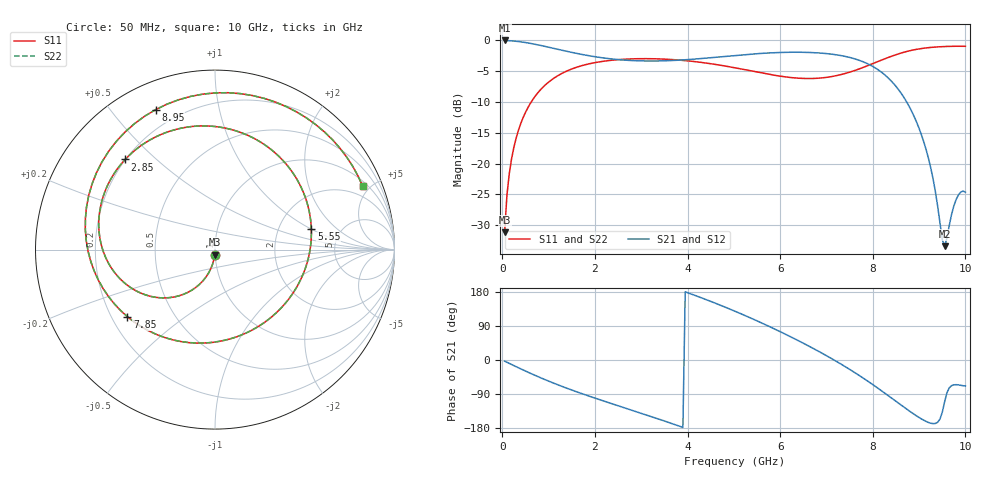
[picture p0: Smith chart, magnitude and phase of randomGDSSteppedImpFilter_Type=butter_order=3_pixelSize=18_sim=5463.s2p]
! freq	dB(S11)	phase(S11)	dB(S12)	phase(S12)
!  dB(S21)	phase(S21)	dB(S22)	phase(S22)
!S-par simulation data
#  GHz  S  DB  R 50
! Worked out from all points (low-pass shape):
!   200 points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, 50 MHz to 10 GHz, reference 50 ohm
!   highest |S21| = -0.01 dB at 50 MHz (marker M1); lowest = -33.4 dB at 9.55 GHz (marker M2)
!   |S21| within 3 dB of the highest: start of sweep to 2.357 GHz; 4.195 GHz to 7.616 GHz (3.421 GHz wide, 57.9 % of centre)
!   lowest |S11| = -31.2 dB at 50 MHz (marker M3), VSWR 1.06, Z = 49.8 - j2.75 ohm
!   |S11| at or under -10 dB: start of sweep to 625.4 MHz
!   |S22| runs from -31.2 to -0.9 dB; largest |S21 - S12| = 0
!   S11 on the Smith chart (normalised r, x): 50 MHz: 1.00, -0.06; 2.85 GHz: 0.20, +0.40; 5.55 GHz: 3.07, +1.00; 7.85 GHz: 0.26, -0.32; 8.95 GHz: 0.12, +0.65; 10 GHz: 1.28, +4.54
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0.05  -31.16 -93.2  -0.01 -3.0  -0.01 -3.0  -31.16 -93.2
0.1  -25.17 -96.3  -0.02 -6.0  -0.02 -6.0  -25.17 -96.3
0.2  -19.25 -102.4  -0.07 -11.9  -0.07 -11.9  -19.25 -102.4
0.5  -11.71 -119.7  -0.34 -29.2  -0.34 -29.2  -11.71 -119.7
1.05  -6.48 -148.8  -1.19 -58.2  -1.19 -58.2  -6.48 -148.8
1.75  -4.03 179.3  -2.32 -90.1  -2.32 -90.1  -4.03 179.3
2.85  -2.99 134.9  -3.29 -134.5  -3.29 -134.5  -2.99 134.9
3.4  -3.01 112.8  -3.33 -156.7  -3.33 -156.7  -3.01 112.8
4.3  -3.58 74.1  -2.94 164.1  -2.94 164.1  -3.58 74.1
5.05  -4.48 38.2  -2.43 127.4  -2.43 127.4  -4.49 38.1
5.55  -5.21 12.0  -2.13 100.6  -2.13 100.6  -5.21 11.9
6.1  -5.91 -19.0  -1.94 68.9  -1.94 68.9  -5.92 -19.1
6.7  -6.19 -56.0  -1.98 31.5  -1.98 31.5  -6.19 -56.2
7.25  -5.67 -94.2  -2.38 -6.1  -2.38 -6.1  -5.67 -94.5
7.85  -4.22 -142.5  -3.66 -52.3  -3.66 -52.3  -4.22 -142.8
8.35  -2.72 171.4  -6.22 -95.5  -6.22 -95.5  -2.72 171.2
8.65  -1.97 142.1  -9.00 -122.4  -9.00 -122.4  -1.97 142.0
8.95  -1.44 113.0  -13.35 -147.9  -13.35 -147.9  -1.44 113.0
9.25  -1.14 85.2  -20.65 -166.8  -20.65 -166.8  -1.14 85.2
9.55  -0.99 59.3  -33.43 -111.0  -33.43 -111.0  -0.99 59.3
9.8  -0.95 39.0  -25.84 -65.1  -25.84 -65.1  -0.95 39.1
10  -0.96 23.1  -24.67 -68.6  -24.67 -68.6  -0.96 23.2
